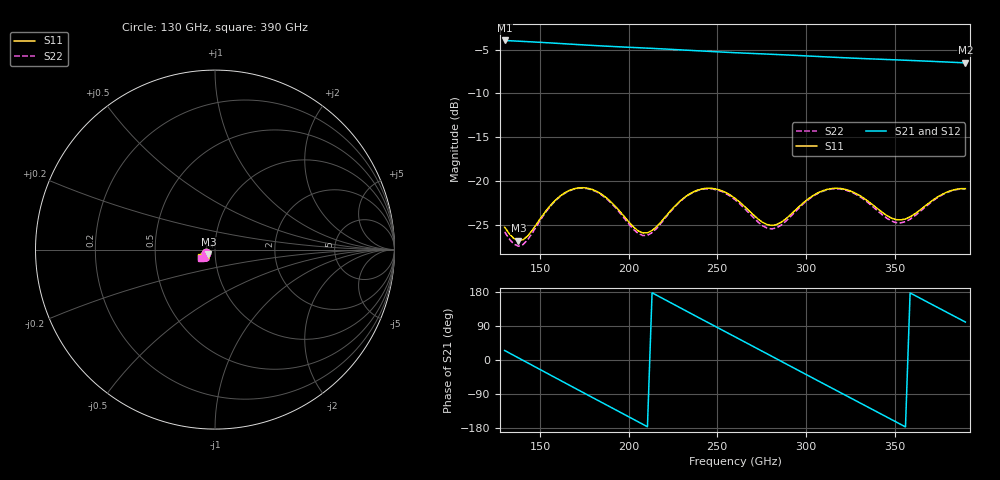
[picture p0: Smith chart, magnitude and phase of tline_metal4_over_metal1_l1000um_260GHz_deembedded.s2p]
! Created with skrf 2.2.0 (http://scikit-rf.org).
# GHz S DB R 50.0
! Port[1] = P1
! Port[2] = P2
!freq dBS11 angS11 dBS21 angS21 dBS12 angS12 dBS22 angS22
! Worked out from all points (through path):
!   101 points, 130 GHz to 390 GHz, reference 50 ohm
!   highest |S21| = -3.96 dB at 130 GHz (marker M1); lowest = -6.5 dB at 390 GHz (marker M2)
!   group delay of S21, straight-line fit = 6.89 ps
!   lowest |S11| = -26.8 dB at 137.8 GHz (marker M3), VSWR 1.10, Z = 46.4 - j2.53 ohm
!   |S11| at or under -10 dB: start of sweep to end of sweep
!   |S22| runs from -27.5 to -20.8 dB; largest |S21 - S12| = 7.2e-14
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130  -25.29 -158.3  -3.96 25.1  -3.96 25.1  -25.83 -158.9
137.8  -26.84 -143.4  -4.05 5.6  -4.05 5.6  -27.46 -141.6
153.4  -23.41 -124.0  -4.22 -33.6  -4.22 -33.6  -23.54 -121.5
163.8  -21.39 -132.5  -4.34 -59.6  -4.34 -59.6  -21.43 -130.9
174.2  -20.78 -145.6  -4.47 -85.6  -4.47 -85.6  -20.83 -144.5
184.6  -21.51 -157.8  -4.59 -111.5  -4.59 -111.5  -21.60 -157.2
197.6  -24.10 -163.4  -4.72 -143.8  -4.72 -143.8  -24.30 -163.0
208  -25.96 -150.2  -4.82 -169.7  -4.82 -169.7  -26.25 -148.8
218.4  -24.65 -133.8  -4.92 164.4  -4.92 164.4  -24.81 -131.6
239.2  -21.04 -142.4  -5.15 112.6  -5.15 112.6  -21.09 -141.1
249.6  -20.94 -153.5  -5.26 86.9  -5.26 86.9  -21.03 -152.6
260  -21.99 -162.2  -5.36 61.2  -5.36 61.2  -22.15 -161.6
273  -24.35 -160.9  -5.48 29.0  -5.48 29.0  -24.71 -160.0
283.4  -25.00 -146.6  -5.57 3.2  -5.57 3.2  -25.37 -144.1
293.8  -23.39 -137.3  -5.66 -22.6  -5.66 -22.6  -23.57 -134.2
304.2  -21.66 -140.0  -5.77 -48.3  -5.77 -48.3  -21.74 -137.4
314.6  -20.88 -148.6  -5.87 -74.0  -5.87 -74.0  -20.93 -146.4
325  -21.15 -157.8  -5.97 -99.6  -5.97 -99.6  -21.23 -156.0
348.4  -24.26 -157.2  -6.16 -157.3  -6.16 -157.3  -24.60 -154.9
366.6  -22.98 -140.2  -6.31 157.8  -6.31 157.8  -23.13 -136.3
379.6  -21.29 -144.2  -6.43 125.7  -6.43 125.7  -21.33 -140.7
390  -20.89 -151.9  -6.52 100.1  -6.52 100.1  -20.93 -148.8
